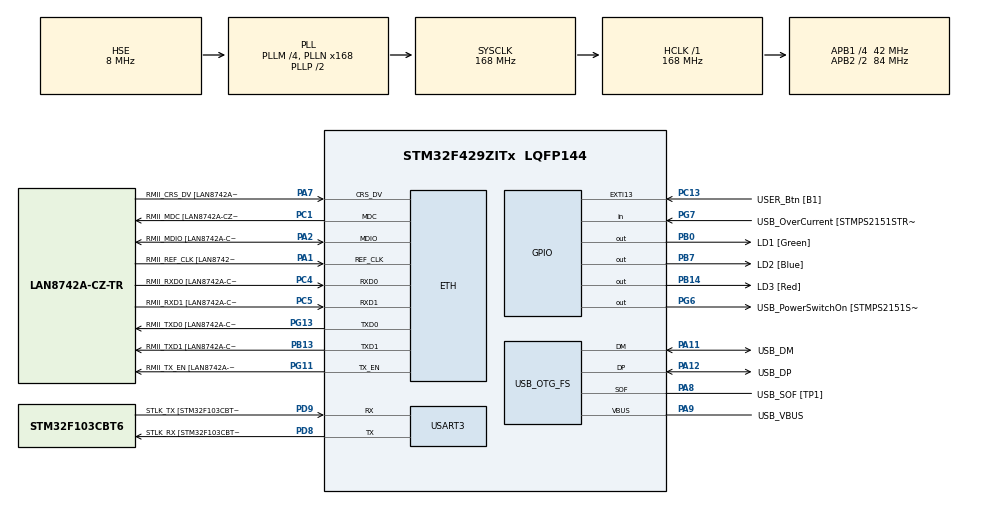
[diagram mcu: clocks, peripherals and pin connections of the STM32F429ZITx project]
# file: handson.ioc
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Dma.Request0=USART3_RX
Dma.USART3_RX.0.Direction=DMA_PERIPH_TO_MEMORY
Dma.USART3_RX.0.FIFOMode=DMA_FIFOMODE_DISABLE
Dma.USART3_RX.0.Instance=DMA1_Stream1
Dma.USART3_RX.0.MemDataAlignment=DMA_MDATAALIGN_BYTE
Dma.USART3_RX.0.MemInc=DMA_MINC_ENABLE
Dma.USART3_RX.0.Mode=DMA_CIRCULAR
Dma.USART3_RX.0.PeriphDataAlignment=DMA_PDATAALIGN_BYTE
Dma.USART3_RX.0.PeriphInc=DMA_PINC_DISABLE
Dma.USART3_RX.0.Priority=DMA_PRIORITY_LOW
ETH.MACAddr=00\:80\:E1\:FE\:EC\:01
ETH.MediaInterface=ETH_MEDIA_INTERFACE_RMII
ETH.PHY_Name=LAN8742A_PHY_ADDRESS
ETH.PHY_Value=0
ETH.PhyAddress=0
FREERTOS.Tasks01=defaultTask,0,128,StartDefaultTask,Default,NULL,Dynamic,NULL,NULL;SerialTask,-3,128,StartSerialTask,Default,NULL,Dynamic,NULL,NULL
FREERTOS.configTOTAL_HEAP_SIZE=32768
LWIP.LWIP_HTTPD=1
LWIP.Version=v2.1.2_Cube
Mcu.Family=STM32F4
Mcu.Name=STM32F429ZITx
Mcu.Package=LQFP144
NVIC.DMA1_Stream1_IRQn=true\:0\:0\:false\:false\:true\:true\:false\:true
NVIC.ETH_IRQn=true\:7\:0\:true\:false\:true\:false\:false\:true
NVIC.PriorityGroup=NVIC_PRIORITYGROUP_4
NVIC.TIM1_UP_TIM10_IRQn=true\:0\:0\:false\:false\:true\:false\:false\:true
NVIC.TimeBase=TIM1_UP_TIM10_IRQn
NVIC.TimeBaseIP=TIM1
PA1.GPIO_Label=RMII_REF_CLK [LAN8742A-CZ-TR_REFCLK0]
PA1.Mode=RMII
PA1.Signal=ETH_REF_CLK
PA10.GPIO_Label=USB_ID
PA10.Signal=USB_OTG_FS_ID
PA11.GPIO_Label=USB_DM
PA11.Mode=Device_Only
PA11.Signal=USB_OTG_FS_DM
PA12.GPIO_Label=USB_DP
PA12.Mode=Device_Only
PA12.Signal=USB_OTG_FS_DP
PA13.GPIO_Label=TMS
PA13.Mode=Serial_Wire
PA13.Signal=SYS_JTMS-SWDIO
PA14.GPIO_Label=TCK
PA14.Mode=Serial_Wire
PA14.Signal=SYS_JTCK-SWCLK
PA2.GPIO_Label=RMII_MDIO [LAN8742A-CZ-TR_MDIO]
PA2.Mode=RMII
PA2.Signal=ETH_MDIO
PA7.GPIO_Label=RMII_CRS_DV [LAN8742A-CZ-TR_CRS_DV]
PA7.Mode=RMII
PA7.Signal=ETH_CRS_DV
PA8.GPIO_Label=USB_SOF [TP1]
PA8.Mode=Activate_SOF_FS
PA8.Signal=USB_OTG_FS_SOF
PA9.GPIO_Label=USB_VBUS
PA9.Mode=Activate_VBUS
PA9.Signal=USB_OTG_FS_VBUS
PB0.GPIO_Label=LD1 [Green]
PB0.Signal=GPIO_Output
PB13.GPIO_Label=RMII_TXD1 [LAN8742A-CZ-TR_TXD1]
PB13.Mode=RMII
PB13.Signal=ETH_TXD1
PB14.GPIO_Label=LD3 [Red]
PB14.Signal=GPIO_Output
PB7.GPIO_Label=LD2 [Blue]
PB7.Signal=GPIO_Output
PC1.GPIO_Label=RMII_MDC [LAN8742A-CZ-TR_MDC]
PC1.Mode=RMII
PC1.Signal=ETH_MDC
PC13.GPIO_Label=USER_Btn [B1]
PC13.Signal=GPXTI13
PC14/OSC32_IN.Mode=LSE-External-Oscillator
PC14/OSC32_IN.Signal=RCC_OSC32_IN
PC15/OSC32_OUT.Mode=LSE-External-Oscillator
PC15/OSC32_OUT.Signal=RCC_OSC32_OUT
PC4.GPIO_Label=RMII_RXD0 [LAN8742A-CZ-TR_RXD0]
PC4.Mode=RMII
PC4.Signal=ETH_RXD0
PC5.GPIO_Label=RMII_RXD1 [LAN8742A-CZ-TR_RXD1]
PC5.Mode=RMII
PC5.Signal=ETH_RXD1
PD8.GPIO_Label=STLK_RX [STM32F103CBT6_PA3]
PD8.Mode=Asynchronous
PD8.Signal=USART3_TX
PD9.GPIO_Label=STLK_TX [STM32F103CBT6_PA2]
PD9.Mode=Asynchronous
PD9.Signal=USART3_RX
PG11.GPIO_Label=RMII_TX_EN [LAN8742A-CZ-TR_TXEN]
PG11.Mode=RMII
PG11.Signal=ETH_TX_EN
PG13.GPIO_Label=RMII_TXD0 [LAN8742A-CZ-TR_TXD0]
PG13.Mode=RMII
PG13.Signal=ETH_TXD0
PG6.GPIO_Label=USB_PowerSwitchOn [STMPS2151STR_EN]
PG6.Signal=GPIO_Output
PG7.GPIO_Label=USB_OverCurrent [STMPS2151STR_FAULT]
PG7.Signal=GPIO_Input
PH0/OSC_IN.GPIO_Label=MCO [STM32F103CBT6_PA8]
PH0/OSC_IN.Mode=HSE-External-Clock-Source
PH0/OSC_IN.Signal=RCC_OSC_IN
PH1/OSC_OUT.Mode=HSE-External-Clock-Source
PH1/OSC_OUT.Signal=RCC_OSC_OUT
ProjectManager.HeapSize=0x200
ProjectManager.StackSize=0x400
ProjectManager.TargetToolchain=STM32CubeIDE
RCC.48MHZClocksFreq_Value=48000000
RCC.AHBFreq_Value=168000000
RCC.APB1CLKDivider=RCC_HCLK_DIV4
RCC.APB1Freq_Value=42000000
RCC.APB1TimFreq_Value=84000000
RCC.APB2CLKDivider=RCC_HCLK_DIV2
RCC.APB2Freq_Value=84000000
RCC.APB2TimCLKDivider=2
RCC.APB2TimFreq_Value=168000000
RCC.CortexFreq_Value=168000000
RCC.HCLKFreq_Value=168000000
RCC.HSE_VALUE=8000000
RCC.HSI_VALUE=16000000
RCC.PLLM=4
RCC.PLLMUL=RCC_PLL_MUL9
RCC.PLLN=168
RCC.PLLQ=7
RCC.PRESCALERUSB=RCC_USBCLKSOURCE_PLL_DIV1_5
RCC.SYSCLKFreq_VALUE=168000000
RCC.SYSCLKSource=RCC_SYSCLKSOURCE_PLLCLK
RCC.SYSCLKSourceVirtual=RCC_SYSCLKSOURCE_PLLCLK
RCC.USBFreq_Value=48000000
RCC.VCOOutputFreq_Value=336000000
USART3.VirtualMode=VM_ASYNC
USB_OTG_FS.VirtualMode=Device_Only
VP_FREERTOS_VS_CMSIS_V1.Mode=CMSIS_V1
VP_LWIP_VS_Enabled.Mode=Enabled
VP_SYS_VS_tim1.Mode=TIM1
board=NUCLEO-F429ZI

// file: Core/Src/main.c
/* USER CODE BEGIN Header */
/**
  ******************************************************************************
  * @file           : main.c
  * @brief          : Main program body
  ******************************************************************************
  * @attention
  *
  * <h2><center>&copy; Copyright (c) 2020 STMicroelectronics.
  * All rights reserved.</center></h2>
  *
  * This software component is licensed by ST under BSD 3-Clause license,
  * the "License"; You may not use this file except in compliance with the
  * License. You may obtain a copy of the License at:
  *                        opensource.org/licenses/BSD-3-Clause
  *
  ******************************************************************************
  */
/* USER CODE END Header */
#include "main.h"
#include "cmsis_os.h"
#include "lwip.h"

/* USER CODE BEGIN Includes */
#include <stdio.h>
#include <stdbool.h>
#include <string.h>
#include "lwip/apps/httpd.h"

/* USER CODE END Includes */

UART_HandleTypeDef huart3;
DMA_HandleTypeDef hdma_usart3_rx;

PCD_HandleTypeDef hpcd_USB_OTG_FS;

osThreadId defaultTaskHandle;
osThreadId SerialTaskHandle;
/* USER CODE BEGIN PV */
#define RX_BUFFER_LEN 64
#define CMD_BUFFER_LEN 256
static uint8_t uart_rx_buf[RX_BUFFER_LEN];
static volatile uint16_t uart_rx_read_ptr = 0;
#define uart_rx_write_ptr (RX_BUFFER_LEN - hdma_usart3_rx.Instance->NDTR)

/* USER CODE END PV */

void SystemClock_Config(void);
static void MX_GPIO_Init(void);
static void MX_DMA_Init(void);
static void MX_USART3_UART_Init(void);
static void MX_USB_OTG_FS_PCD_Init(void);
void StartDefaultTask(void const * argument);
void StartSerialTask(void const * argument);

/* USER CODE BEGIN 0 */

int _write(int file, char const *buf, int n)
{
    /* stdout redirection to UART3 */
    HAL_UART_Transmit(&huart3, (uint8_t*)(buf), n, HAL_MAX_DELAY);
    return n;
}

static void uart_process_command(char *cmd)
{
    // printf("prijato: '%s'\n", cmd);

	char *token;
	token = strtok(cmd, " ");

	if (strcasecmp(token, "HELLO") == 0) {
	    printf("Komunikace OK\n");
	}
	else if (strcasecmp(token, "LED1") == 0) {
	    token = strtok(NULL, " ");
	    if (strcasecmp(token, "ON") == 0) HAL_GPIO_WritePin(LD1_GPIO_Port, LD1_Pin, GPIO_PIN_SET);
	    else if (strcasecmp(token, "OFF") == 0) HAL_GPIO_WritePin(LD1_GPIO_Port, LD1_Pin, GPIO_PIN_RESET);
	    printf("OK\n");
	}
	else if (strcasecmp(token, "LED2") == 0) {
	    token = strtok(NULL, " ");
	    if (strcasecmp(token, "ON") == 0) HAL_GPIO_WritePin(LD2_GPIO_Port, LD2_Pin, GPIO_PIN_SET);
	    else if (strcasecmp(token, "OFF") == 0) HAL_GPIO_WritePin(LD2_GPIO_Port, LD2_Pin, GPIO_PIN_RESET);
	    printf("OK\n");
	}
	else if (strcasecmp(token, "LED3") == 0) {
	    token = strtok(NULL, " ");
	    if (strcasecmp(token, "ON") == 0) HAL_GPIO_WritePin(LD3_GPIO_Port, LD3_Pin, GPIO_PIN_SET);
	    else if (strcasecmp(token, "OFF") == 0) HAL_GPIO_WritePin(LD3_GPIO_Port, LD3_Pin, GPIO_PIN_RESET);
	    printf("OK\n");
	}
	else if (strcasecmp(token, "STATUS") == 0) {
	    bool ld1 = HAL_GPIO_ReadPin(LD1_GPIO_Port, LD1_Pin);
	    bool ld2 = HAL_GPIO_ReadPin(LD2_GPIO_Port, LD2_Pin);
	    bool ld3 = HAL_GPIO_ReadPin(LD3_GPIO_Port, LD3_Pin);

	    printf("Stav LED1=%s, LED2=%s, LED3=%s\n", ld1?"on":"off", ld2?"on":"off", ld3?"on":"off");
	}
	else {
	    printf("Neznamy prikaz\n");
	}
}

static void uart_byte_available(uint8_t c)
{
    static uint16_t cnt;
    static char data[CMD_BUFFER_LEN];

    if (cnt < CMD_BUFFER_LEN) data[cnt++] = c;
    if (c == '\n' || c == '\r') {
        data[cnt - 1] = '\0';
        uart_process_command(data);
        cnt = 0;
    }
}

/* USER CODE END 0 */

int main(void)
{

  /* MCU Configuration--------------------------------------------------------*/

  /* Reset of all peripherals, Initializes the Flash interface and the Systick. */
  HAL_Init();

  /* Configure the system clock */
  SystemClock_Config();

  /* Initialize all configured peripherals */
  MX_GPIO_Init();
  MX_DMA_Init();
  MX_USART3_UART_Init();
  MX_USB_OTG_FS_PCD_Init();

  /* Create the thread(s) */
  /* definition and creation of defaultTask */
  osThreadDef(defaultTask, StartDefaultTask, osPriorityNormal, 0, 128);
  defaultTaskHandle = osThreadCreate(osThread(defaultTask), NULL);

  /* definition and creation of SerialTask */
  osThreadDef(SerialTask, StartSerialTask, osPriorityIdle, 0, 128);
  SerialTaskHandle = osThreadCreate(osThread(SerialTask), NULL);

  /* Start scheduler */
  osKernelStart();

  /* We should never get here as control is now taken by the scheduler */
  /* Infinite loop */
  while (1)
  {

  }
}

void SystemClock_Config(void)
{
  RCC_OscInitTypeDef RCC_OscInitStruct = {0};
  RCC_ClkInitTypeDef RCC_ClkInitStruct = {0};

  /** Configure the main internal regulator output voltage
  */
  __HAL_RCC_PWR_CLK_ENABLE();
  __HAL_PWR_VOLTAGESCALING_CONFIG(PWR_REGULATOR_VOLTAGE_SCALE1);
  /** Initializes the RCC Oscillators according to the specified parameters
  * in the RCC_OscInitTypeDef structure.
  */
  RCC_OscInitStruct.OscillatorType = RCC_OSCILLATORTYPE_HSE;
  RCC_OscInitStruct.HSEState = RCC_HSE_BYPASS;
  RCC_OscInitStruct.PLL.PLLState = RCC_PLL_ON;
  RCC_OscInitStruct.PLL.PLLSource = RCC_PLLSOURCE_HSE;
  RCC_OscInitStruct.PLL.PLLM = 4;
  RCC_OscInitStruct.PLL.PLLN = 168;
  RCC_OscInitStruct.PLL.PLLP = RCC_PLLP_DIV2;
  RCC_OscInitStruct.PLL.PLLQ = 7;
  if (HAL_RCC_OscConfig(&RCC_OscInitStruct) != HAL_OK)
  {
    Error_Handler();
  }
  /** Initializes the CPU, AHB and APB buses clocks
  */
  RCC_ClkInitStruct.ClockType = RCC_CLOCKTYPE_HCLK|RCC_CLOCKTYPE_SYSCLK
                              |RCC_CLOCKTYPE_PCLK1|RCC_CLOCKTYPE_PCLK2;
  RCC_ClkInitStruct.SYSCLKSource = RCC_SYSCLKSOURCE_PLLCLK;
  RCC_ClkInitStruct.AHBCLKDivider = RCC_SYSCLK_DIV1;
  RCC_ClkInitStruct.APB1CLKDivider = RCC_HCLK_DIV4;
  RCC_ClkInitStruct.APB2CLKDivider = RCC_HCLK_DIV2;

  if (HAL_RCC_ClockConfig(&RCC_ClkInitStruct, FLASH_LATENCY_5) != HAL_OK)
  {
    Error_Handler();
  }
}

static void MX_USART3_UART_Init(void)
{

  huart3.Instance = USART3;
  huart3.Init.BaudRate = 115200;
  huart3.Init.WordLength = UART_WORDLENGTH_8B;
  huart3.Init.StopBits = UART_STOPBITS_1;
  huart3.Init.Parity = UART_PARITY_NONE;
  huart3.Init.Mode = UART_MODE_TX_RX;
  huart3.Init.HwFlowCtl = UART_HWCONTROL_NONE;
  huart3.Init.OverSampling = UART_OVERSAMPLING_16;
  if (HAL_UART_Init(&huart3) != HAL_OK)
  {
    Error_Handler();
  }

}

static void MX_USB_OTG_FS_PCD_Init(void)
{

  hpcd_USB_OTG_FS.Instance = USB_OTG_FS;
  hpcd_USB_OTG_FS.Init.dev_endpoints = 4;
  hpcd_USB_OTG_FS.Init.speed = PCD_SPEED_FULL;
  hpcd_USB_OTG_FS.Init.dma_enable = DISABLE;
  hpcd_USB_OTG_FS.Init.phy_itface = PCD_PHY_EMBEDDED;
  hpcd_USB_OTG_FS.Init.Sof_enable = ENABLE;
  hpcd_USB_OTG_FS.Init.low_power_enable = DISABLE;
  hpcd_USB_OTG_FS.Init.lpm_enable = DISABLE;
  hpcd_USB_OTG_FS.Init.vbus_sensing_enable = ENABLE;
  hpcd_USB_OTG_FS.Init.use_dedicated_ep1 = DISABLE;
  if (HAL_PCD_Init(&hpcd_USB_OTG_FS) != HAL_OK)
  {
    Error_Handler();
  }

}

static void MX_DMA_Init(void)
{

  /* DMA controller clock enable */
  __HAL_RCC_DMA1_CLK_ENABLE();

  /* DMA interrupt init */
  /* DMA1_Stream1_IRQn interrupt configuration */
  HAL_NVIC_SetPriority(DMA1_Stream1_IRQn, 0, 0);
  HAL_NVIC_EnableIRQ(DMA1_Stream1_IRQn);

}

static void MX_GPIO_Init(void)
{
  GPIO_InitTypeDef GPIO_InitStruct = {0};

  /* GPIO Ports Clock Enable */
  __HAL_RCC_GPIOC_CLK_ENABLE();
  __HAL_RCC_GPIOH_CLK_ENABLE();
  __HAL_RCC_GPIOA_CLK_ENABLE();
  __HAL_RCC_GPIOB_CLK_ENABLE();
  __HAL_RCC_GPIOD_CLK_ENABLE();
  __HAL_RCC_GPIOG_CLK_ENABLE();

  /*Configure GPIO pin Output Level */
  HAL_GPIO_WritePin(GPIOB, LD1_Pin|LD3_Pin|LD2_Pin, GPIO_PIN_RESET);

  /*Configure GPIO pin Output Level */
  HAL_GPIO_WritePin(USB_PowerSwitchOn_GPIO_Port, USB_PowerSwitchOn_Pin, GPIO_PIN_RESET);

  /*Configure GPIO pin : USER_Btn_Pin */
  GPIO_InitStruct.Pin = USER_Btn_Pin;
  GPIO_InitStruct.Mode = GPIO_MODE_IT_RISING;
  GPIO_InitStruct.Pull = GPIO_NOPULL;
  HAL_GPIO_Init(USER_Btn_GPIO_Port, &GPIO_InitStruct);

  /*Configure GPIO pins : LD1_Pin LD3_Pin LD2_Pin */
  GPIO_InitStruct.Pin = LD1_Pin|LD3_Pin|LD2_Pin;
  GPIO_InitStruct.Mode = GPIO_MODE_OUTPUT_PP;
  GPIO_InitStruct.Pull = GPIO_NOPULL;
  GPIO_InitStruct.Speed = GPIO_SPEED_FREQ_LOW;
  HAL_GPIO_Init(GPIOB, &GPIO_InitStruct);

  /*Configure GPIO pin : USB_PowerSwitchOn_Pin */
  GPIO_InitStruct.Pin = USB_PowerSwitchOn_Pin;
  GPIO_InitStruct.Mode = GPIO_MODE_OUTPUT_PP;
  GPIO_InitStruct.Pull = GPIO_NOPULL;
  GPIO_InitStruct.Speed = GPIO_SPEED_FREQ_LOW;
  HAL_GPIO_Init(USB_PowerSwitchOn_GPIO_Port, &GPIO_InitStruct);

  /*Configure GPIO pin : USB_OverCurrent_Pin */
  GPIO_InitStruct.Pin = USB_OverCurrent_Pin;
  GPIO_InitStruct.Mode = GPIO_MODE_INPUT;
  GPIO_InitStruct.Pull = GPIO_NOPULL;
  HAL_GPIO_Init(USB_OverCurrent_GPIO_Port, &GPIO_InitStruct);

}

void StartDefaultTask(void const * argument)
{
  /* init code for LWIP */
  MX_LWIP_Init();
  /* USER CODE BEGIN 5 */

  /* Initialize HTTP server */
  httpd_init();

  /* Infinite loop */
  for(;;)
  {
    osDelay(1);
  }
  /* USER CODE END 5 */
}

void StartSerialTask(void const * argument)
{
  /* USER CODE BEGIN StartSerialTask */
	HAL_UART_Receive_DMA(&huart3, uart_rx_buf, RX_BUFFER_LEN);

	/* Infinite loop */
	for (;;) {
		while (uart_rx_read_ptr != uart_rx_write_ptr) {
			uint8_t b = uart_rx_buf[uart_rx_read_ptr];
			if (++uart_rx_read_ptr >= RX_BUFFER_LEN)
				uart_rx_read_ptr = 0; // increase read pointer

			uart_byte_available(b); // process received byte
		}
		osDelay(1);
	}
  /* USER CODE END StartSerialTask */
}

void HAL_TIM_PeriodElapsedCallback(TIM_HandleTypeDef *htim)
{
  if (htim->Instance == TIM1) {
    HAL_IncTick();
  }
}

void Error_Handler(void)
{
}

/************************ (C) COPYRIGHT STMicroelectronics *****END OF FILE****/
